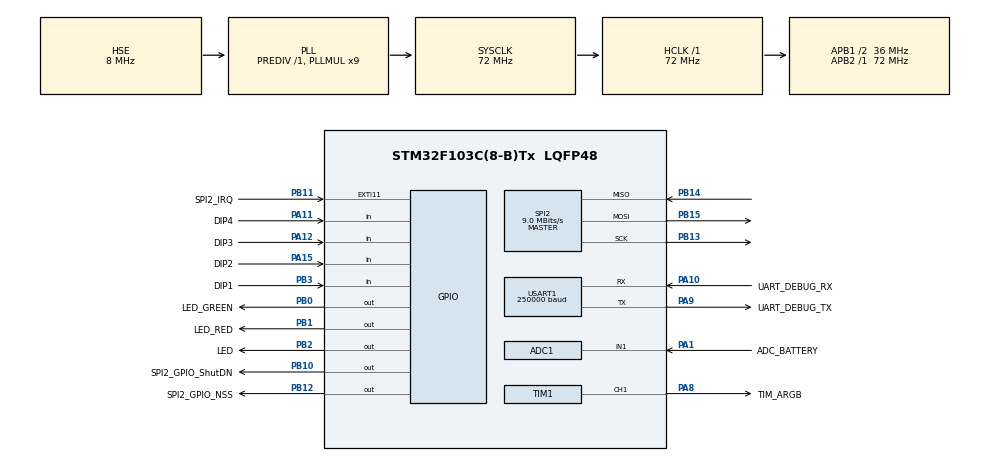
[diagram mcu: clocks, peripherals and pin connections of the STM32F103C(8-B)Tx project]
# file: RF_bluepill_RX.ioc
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ADC1.Channel-2\#ChannelRegularConversion=ADC_CHANNEL_1
ADC1.ContinuousConvMode=ENABLE
ADC1.NbrOfConversionFlag=1
ADC1.Rank-2\#ChannelRegularConversion=1
ADC1.SamplingTime-2\#ChannelRegularConversion=ADC_SAMPLETIME_71CYCLES_5
ADC1.master=1
Dma.Request0=TIM1_CH1
Dma.TIM1_CH1.0.Direction=DMA_MEMORY_TO_PERIPH
Dma.TIM1_CH1.0.Instance=DMA1_Channel2
Dma.TIM1_CH1.0.MemDataAlignment=DMA_MDATAALIGN_BYTE
Dma.TIM1_CH1.0.MemInc=DMA_MINC_ENABLE
Dma.TIM1_CH1.0.Mode=DMA_CIRCULAR
Dma.TIM1_CH1.0.PeriphDataAlignment=DMA_PDATAALIGN_WORD
Dma.TIM1_CH1.0.PeriphInc=DMA_PINC_DISABLE
Dma.TIM1_CH1.0.Priority=DMA_PRIORITY_VERY_HIGH
Mcu.Family=STM32F1
Mcu.Name=STM32F103C(8-B)Tx
Mcu.Package=LQFP48
NVIC.DMA1_Channel2_IRQn=true\:0\:0\:false\:false\:true\:false\:true\:true
NVIC.EXTI15_10_IRQn=true\:0\:0\:false\:false\:true\:true\:true\:true
NVIC.PriorityGroup=NVIC_PRIORITYGROUP_4
NVIC.TIM2_IRQn=true\:0\:0\:false\:false\:true\:true\:true\:true
NVIC.TIM3_IRQn=true\:0\:0\:false\:false\:true\:true\:true\:true
NVIC.USART1_IRQn=true\:0\:0\:false\:false\:true\:true\:true\:true
PA1.GPIO_Label=ADC_BATTERY
PA1.Signal=ADCx_IN1
PA10.GPIO_Label=UART_DEBUG_RX
PA10.Mode=Asynchronous
PA10.Signal=USART1_RX
PA11.GPIO_Label=DIP4
PA11.Signal=GPIO_Input
PA12.GPIO_Label=DIP3
PA12.Signal=GPIO_Input
PA13.Mode=Serial_Wire
PA13.Signal=SYS_JTMS-SWDIO
PA14.Mode=Serial_Wire
PA14.Signal=SYS_JTCK-SWCLK
PA15.GPIO_Label=DIP2
PA15.Signal=GPIO_Input
PA8.GPIO_Label=TIM_ARGB
PA8.Signal=S_TIM1_CH1
PA9.GPIO_Label=UART_DEBUG_TX
PA9.Mode=Asynchronous
PA9.Signal=USART1_TX
PB0.GPIO_Label=LED_GREEN
PB0.Signal=GPIO_Output
PB1.GPIO_Label=LED_RED
PB1.Signal=GPIO_Output
PB10.GPIO_Label=SPI2_GPIO_ShutDN
PB10.GPIO_PuPd=GPIO_NOPULL
PB10.PinState=GPIO_PIN_RESET
PB10.Signal=GPIO_Output
PB11.GPIO_Label=SPI2_IRQ
PB11.GPIO_ModeDefaultEXTI=GPIO_MODE_IT_FALLING
PB11.GPIO_PuPd=GPIO_PULLUP
PB11.Signal=GPXTI11
PB12.GPIO_Label=SPI2_GPIO_NSS
PB12.GPIO_Speed=GPIO_SPEED_FREQ_MEDIUM
PB12.Signal=GPIO_Output
PB13.Mode=Full_Duplex_Master
PB13.Signal=SPI2_SCK
PB14.Mode=Full_Duplex_Master
PB14.Signal=SPI2_MISO
PB15.Mode=Full_Duplex_Master
PB15.Signal=SPI2_MOSI
PB2.GPIO_Label=LED
PB2.Signal=GPIO_Output
PB3.GPIO_Label=DIP1
PB3.Signal=GPIO_Input
PD0-OSC_IN.Mode=HSE-External-Oscillator
PD0-OSC_IN.Signal=RCC_OSC_IN
PD1-OSC_OUT.Mode=HSE-External-Oscillator
PD1-OSC_OUT.Signal=RCC_OSC_OUT
ProjectManager.HeapSize=0x200
ProjectManager.StackSize=0x400
ProjectManager.TargetToolchain=STM32CubeIDE
RCC.ADCPresc=RCC_ADCPCLK2_DIV6
RCC.AHBFreq_Value=72000000
RCC.APB1CLKDivider=RCC_HCLK_DIV2
RCC.APB1Freq_Value=36000000
RCC.APB1TimFreq_Value=72000000
RCC.APB2Freq_Value=72000000
RCC.APB2TimFreq_Value=72000000
RCC.HCLKFreq_Value=72000000
RCC.PLLMUL=RCC_PLL_MUL9
RCC.PLLSourceVirtual=RCC_PLLSOURCE_HSE
RCC.SYSCLKFreq_VALUE=72000000
RCC.SYSCLKSource=RCC_SYSCLKSOURCE_PLLCLK
RCC.USBFreq_Value=72000000
SH.ADCx_IN1.0=ADC1_IN1,IN1
SH.S_TIM1_CH1.0=TIM1_CH1,PWM Generation1 CH1
SPI2.BaudRatePrescaler=SPI_BAUDRATEPRESCALER_4
SPI2.CalculateBaudRate=9.0 MBits/s
SPI2.Direction=SPI_DIRECTION_2LINES
SPI2.Mode=SPI_MODE_MASTER
SPI2.VirtualType=VM_MASTER
TIM1.Channel-PWM\ Generation1\ CH1=TIM_CHANNEL_1
TIM1.Period=89
TIM2.Prescaler=6399
TIM3.Period=49999
TIM3.Prescaler=7199
USART1.BaudRate=250000
USART1.StopBits=STOPBITS_2
USART1.VirtualMode=VM_ASYNC
VP_TIM1_VS_ClockSourceINT.Mode=Internal
VP_TIM2_VS_ClockSourceINT.Mode=Internal
VP_TIM3_VS_ClockSourceINT.Mode=Internal
board=custom

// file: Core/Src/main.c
/* USER CODE BEGIN Header */
/**
  ******************************************************************************
  * @file           : main.c
  * @brief          : Main program body
  ******************************************************************************
  * @attention
  *
  * Copyright (c) 2025 STMicroelectronics.
  * All rights reserved.
  *
  * This software is licensed under terms that can be found in the LICENSE file
  * in the root directory of this software component.
  * If no LICENSE file comes with this software, it is provided AS-IS.
  *
  ******************************************************************************
  */
/* USER CODE END Header */
#include "main.h"

/* USER CODE BEGIN Includes */
#include "si4432.h"
#include "effects.h"
#include "colours.h" //ToDo: delete
/* USER CODE END Includes */

/* USER CODE BEGIN PD */
#define BROADCAST_PACKET_MARK 0xA1
#define INDIVIDUAL_PACKET_MARK 0xA2
//#define DATA_START_POS 2 //Position of packet on which DMX data starts

#define AWAKE_PACKET_MARK 0xBB
#define AWAKE_PACKET_LENGTH 2

#define FIFO_SIZE 64

#define BATTERY_LOW_VOLTAGE 15.5f //Voltage at which tube stops; even 15.0f should be safe

#define FLASH_TIME 20000		  //For how long minimum (ms) the device is flashable without battery, after plugging in

#define BATTERY_LOW_BLINKS 10 	  //How many times RED LED blinks when battery is low

//ToDo: Fix - prevent FIFO overflow

/* USER CODE END PD */

ADC_HandleTypeDef hadc1;

SPI_HandleTypeDef hspi2;

TIM_HandleTypeDef htim1;
TIM_HandleTypeDef htim2;
TIM_HandleTypeDef htim3;
DMA_HandleTypeDef hdma_tim1_ch1;

UART_HandleTypeDef huart1;

/* USER CODE BEGIN PV */
//FLAGS
static volatile bool nextStepFlag = 1; //Next step of animation can be applied
static volatile bool rxDoneFlag = 0;   //RF packet received
static volatile bool signalLost = 0;   //RF signal lost
static uint8_t lastPacketID = 0;   	   //Last received dataPacket ID

static uint8_t tubeNumber; 	 //tubeNumber acquired from DIP switch; from 1 to 6
static volatile float current_battery_voltage = 21.0f;
static volatile bool applyValues = false;

/* USER CODE END PV */

void SystemClock_Config(void);
static void MX_GPIO_Init(void);
static void MX_DMA_Init(void);
static void MX_TIM1_Init(void);
static void MX_SPI2_Init(void);
static void MX_TIM2_Init(void);
static void MX_USART1_UART_Init(void);
static void MX_ADC1_Init(void);
static void MX_TIM3_Init(void);

/* USER CODE BEGIN 0 */
void HAL_TIM_PeriodElapsedCallback(TIM_HandleTypeDef *htim)
{
    if (htim->Instance == TIM2)
    {
    	nextStepFlag=1;
    }
    else if (htim->Instance == TIM3)
    {
    	signalLost=1;
    }
}

//---RF EXTI Callback---
void HAL_GPIO_EXTI_Callback(uint16_t GPIO_Pin)
{
	//EXTI for RF module (SI4432)
	//if (GPIO_Pin == GPIO_PIN_11)
	//{
        rxDoneFlag=true; //ToDo: přidat čtecí
	//}
}

void set_timer(TIM_HandleTypeDef *htim, uint16_t ARR, uint16_t PSC)
{
	__HAL_TIM_SET_AUTORELOAD(htim, ARR);
	__HAL_TIM_SET_PRESCALER(htim, PSC);
	__HAL_TIM_SET_COUNTER(htim, 0);
	htim->Instance->EGR = TIM_EGR_UG;
}

void reset_timer(TIM_HandleTypeDef *htim)
{
	__HAL_TIM_SET_COUNTER(htim, 0);
}

void DIP_init()
{
	tubeNumber = 0;
	tubeNumber |= (!HAL_GPIO_ReadPin(DIP4_GPIO_Port, DIP4_Pin)<<0);
	//Do not use DIP3! --- needs to be fixed in HW...
	tubeNumber |= (!HAL_GPIO_ReadPin(DIP2_GPIO_Port, DIP2_Pin)<<1);
	tubeNumber |= (!HAL_GPIO_ReadPin(DIP1_GPIO_Port, DIP1_Pin)<<2);
	tubeNumber+=1;
}

float get_battery_voltage()
{
	uint32_t adc_value = HAL_ADC_GetValue(&hadc1);
	//ADC_VALUE*Vref / ADC_RESOLUTION
	//float v_pin = (adc_value * 3.3f) / 4095.0f;
	//VOLTAGE DIVIDER -> (R7+R8)/R8 = (470k+82k)/82k = 6.7317f
	float v_battery = ((adc_value * 3.3f) / 4095.0f) * 6.7317f;
	//HAL_ADC_Start(&hadc1);
	return v_battery;
}

void apply_effect()
{
	if(ARGB_Ready() == ARGB_READY) //Prevents writing onto ARGB while another writing is in progress (was causing artifacts)
	{
		effects_apply_values();
		applyValues = false;
	}
}
/* USER CODE END 0 */

int main(void)
{

  /* MCU Configuration--------------------------------------------------------*/

  /* Reset of all peripherals, Initializes the Flash interface and the Systick. */
  HAL_Init();

  /* Configure the system clock */
  SystemClock_Config();

  /* Initialize all configured peripherals */
  MX_GPIO_Init();
  MX_DMA_Init();
  MX_TIM1_Init();
  MX_SPI2_Init();
  MX_TIM2_Init();
  MX_USART1_UART_Init();
  MX_ADC1_Init();
  MX_TIM3_Init();
  /* USER CODE BEGIN 2 */

  DIP_init();
  HAL_ADC_Start(&hadc1);
  HAL_GPIO_WritePin(LED_GREEN_GPIO_Port, LED_GREEN_Pin, GPIO_PIN_SET);
  HAL_GPIO_WritePin(SPI2_GPIO_ShutDN_GPIO_Port, SPI2_GPIO_ShutDN_Pin, GPIO_PIN_RESET);
  HAL_Delay(500);

  //---SI4432---
  SI44_Init(&hspi2, SPI2_GPIO_NSS_GPIO_Port, SPI2_GPIO_NSS_Pin);
  SI44_PresetConfig();
  HAL_Delay(50); //ToDo: zkratit
  SI44_SetAGCMode(0b00100000); //6th bit - sgin
  HAL_Delay(5);
  SI44_SetInterrupts1(0b00000010); //1st bit = CRC error
  HAL_Delay(5);
  SI44_SetInterrupts2(0b00000000);
  HAL_Delay(5);
  SI44_SetModuleAntenna();
  //SI44_SetTXPower(SI44_TX_POWER_20dBm);    //Set TX power to 11dBm (12.5 mW)
  HAL_Delay(100);

  //---ARGB effects---
  effects_init(&htim2, tubeNumber); //before timer?
  HAL_TIM_Base_Start_IT(&htim2);

  HAL_TIM_Base_Start_IT(&htim3);

  bool changesMade=1;	//If changes were made to the ARGB settings - it is true. It is used to redraw current effect immidiately.
  bool afterDataLost=0; //Data packet was lost - behavior in DATA PACKET handling slightly differs (commented further in code)

  static uint8_t packetRF[FIFO_SIZE];  		  //Current RF packet
  static uint8_t previousPacketRF[FIFO_SIZE]; //Previous RF packet

  effects_set_effect(0,0);
  effects_set_primaryColour(100);
  effects_set_secondaryColour(150);
  effects_set_tempo(164);
  effects_set_brightness(255);

  //SetRXon should be placed as close as possible to the main loop,
  //if not, FIFO buffer can overflow, which resets ipkvalid IRQ to logical 1.
  //That would be caused by Si4432 already running in the background and receiving packets, while program for example waiting in HAL_Delay.
  //(If FIFO overflows, the entire packet cannot be saved into FIFO -> invalid paket received.)
  //That makes the program stuck with no option to start receiving again.
  //BEWARE - after resetting or quick ON/OFF switching FIFO/receiving seems to stay active -> FIFO will be kept full
  uint8_t b;
  SI44_Read(0x04, &b, 1);
  SI44_Read(0x03, &b, 1);
  rxDoneFlag = 0; //important - prevents fake IRQ signal probably caused by Si4432 booting up!
  __HAL_GPIO_EXTI_CLEAR_IT(SPI2_IRQ_Pin);
  SI44_ClearRXFIFO();

  HAL_GPIO_WritePin(LED_GREEN_GPIO_Port, LED_GREEN_Pin, GPIO_PIN_RESET);
  SI44_SetRXon();
  /* USER CODE END 2 */

  /* Infinite loop */
  /* USER CODE BEGIN WHILE */
  while (1)
  {
	  //RF PACKET RECEIVED
	  if(rxDoneFlag==1 || HAL_GPIO_ReadPin(SPI2_IRQ_GPIO_Port, SPI2_IRQ_Pin) == GPIO_PIN_RESET)
	  {
		  //Recieving only applies when data changes - included in transmitter code
		  rxDoneFlag=0;
		  reset_timer(&htim3);

		  uint8_t b;
		  SI44_Read(0x04, &b, 1);
		  SI44_Read(0x03, &b, 1);

		  SI44_ReadPacket(packetRF);

		  //DATA PACKET - BROADCAST
		  if(packetRF[0]==BROADCAST_PACKET_MARK)
		  {
			  lastPacketID=packetRF[1];
			  HAL_GPIO_WritePin(LED_RED_GPIO_Port, LED_RED_Pin, GPIO_PIN_RESET);
			  HAL_GPIO_WritePin(LED_GREEN_GPIO_Port, LED_GREEN_Pin, GPIO_PIN_RESET);
			  if(packetRF[4]!=previousPacketRF[4])
			  {
				  effects_set_primaryColour(packetRF[4]);
				  changesMade=true;
			  }
			  if(packetRF[5]!=previousPacketRF[5])
			  {
				  effects_set_secondaryColour(packetRF[5]);
				  changesMade=true;
			  }
			  if(packetRF[2]!=previousPacketRF[2])
			  {
				  effects_set_tempo(packetRF[2]);
				  changesMade=true;
			  }
			  if(packetRF[3]!=previousPacketRF[3])
			  {
				  effects_set_brightness(packetRF[3]);
				  changesMade=true;
			  }
			  if(packetRF[6]!=previousPacketRF[6]||packetRF[7]!=previousPacketRF[7]||afterDataLost==true)
			  {
				  effects_set_effect(packetRF[6],packetRF[7]);
				  changesMade=true;
				  afterDataLost=0; //Needed to reapply the same values after desynchronization
			  }
			  //current_effect_func() should apply new values only, if there was a change
			  //However after loss of data packet, no change is needed - the same signal can be reapplied (afterDataLost=true)
			  if(changesMade==true)
			  {
				  changesMade=0;
				  memcpy(previousPacketRF, packetRF, FIFO_SIZE); //ToDo: Doesn't have to copy the whole packet of FIFO_SIZE
				  applyValues=true;
				  apply_effect();
			  }
		  }
		  //DATA PACKET - INDIVIDUAL
		  else if(packetRF[0]==INDIVIDUAL_PACKET_MARK)
		  {
			  lastPacketID=packetRF[1];
			  HAL_GPIO_WritePin(LED_RED_GPIO_Port, LED_RED_Pin, GPIO_PIN_RESET);
			  HAL_GPIO_WritePin(LED_GREEN_GPIO_Port, LED_GREEN_Pin, GPIO_PIN_RESET);
			  uint8_t tubeIndex = (tubeNumber-1)*5;
			  if(packetRF[4+tubeIndex]!=previousPacketRF[4+tubeIndex])
			  {
				  effects_set_primaryColour(packetRF[4+tubeIndex]);
				  changesMade=true;
			  }
			  if(packetRF[5+tubeIndex]!=previousPacketRF[5+tubeIndex])
			  {
				  effects_set_secondaryColour(packetRF[5+tubeIndex]);
				  changesMade=true;
			  }
			  if(packetRF[2]!=previousPacketRF[2])
			  {
				  effects_set_tempo(packetRF[2]);
				  changesMade=true;
			  }
			  if(packetRF[3+tubeIndex]!=previousPacketRF[3+tubeIndex])
			  {
				  effects_set_brightness(packetRF[3+tubeIndex]);
				  changesMade=true;
			  }
			  if(packetRF[6+tubeIndex]!=previousPacketRF[6+tubeIndex]||packetRF[7+tubeIndex]!=previousPacketRF[7+tubeIndex]||afterDataLost==true)
			  {
				  effects_set_effect(packetRF[6+tubeIndex],packetRF[7+tubeIndex]);
				  changesMade=true;
				  afterDataLost=0;
			  }
			  if(changesMade==true)
			  {
				  changesMade=0;
				  memcpy(previousPacketRF, packetRF, FIFO_SIZE);
				  applyValues=true;
				  apply_effect();
			  }
		  }
		  //AWAKE PACKET BEHAVI0R
		  if(packetRF[0]==AWAKE_PACKET_MARK)
		  {
			  //AWAKE PACKET ID MISMATCH
			  if(packetRF[1]!=lastPacketID)
			  {
				  //lastPacketID=packetRF[1];
				  afterDataLost=1;
				  //YELLOW
				  HAL_GPIO_WritePin(LED_RED_GPIO_Port, LED_RED_Pin, GPIO_PIN_SET);
				  HAL_GPIO_WritePin(LED_GREEN_GPIO_Port, LED_GREEN_Pin, GPIO_PIN_SET);
				  effects_set_effect(0,0);
				  applyValues=true;
				  apply_effect();
			  }
		  }
	  }

	  //SIGNAL LOST BEHAVIOR
	  if(signalLost==1)
	  {
		  signalLost=0;
		  afterDataLost=1;
		  effects_set_effect(0,0);
		  applyValues=true;
		  apply_effect();
		  HAL_GPIO_WritePin(LED_RED_GPIO_Port, LED_RED_Pin, GPIO_PIN_SET);
	  }

	  //BATTERY LOW BEHAVIOR
	  if(get_battery_voltage()<BATTERY_LOW_VOLTAGE)
	  {
		  //ENABLES STANDBY MODE WHEN BATTERY VOLTAGE IS LOW
		  effects_set_effect(0,0);
		  while (ARGB_Ready() == ARGB_BUSY) {}
		  effects_apply_values();
		  //__disable_irq();
		  for(uint8_t i=0; i<BATTERY_LOW_BLINKS; i++)
		  {
			  HAL_GPIO_WritePin(LED_RED_GPIO_Port, LED_RED_Pin, GPIO_PIN_SET);
			  HAL_Delay(500);
			  HAL_GPIO_WritePin(LED_RED_GPIO_Port, LED_RED_Pin, GPIO_PIN_RESET);
			  HAL_Delay(500);
		  }
		  HAL_Delay(500);
		  ARGB_Clear(); //Only for testing
		  ARGB_Show();
		  HAL_Delay(FLASH_TIME);
		  //HAL_PWR_EnableWakeUpPin(PWR_WAKEUP_PIN1);
		  __HAL_PWR_CLEAR_FLAG(PWR_FLAG_WU);
		  HAL_PWR_EnterSTANDBYMode();
	  }

	  //VALUE APPLYING TO ARGB
	  	  /**
	  	   * Prevents race condition - effect only redraws when HW enables it, otherwise it could create artifacts
	  	   * ApplyValues doesn't do anything with the timer. Timer continues adding to steps variable, but the effect only redraws when it is able to.
	  	   */
	  if(applyValues == true)
	  {
		  apply_effect();
	  }

	  //EFFECT TIMING
	  if(nextStepFlag==1)
	  {
		  effects_next_step();
		  applyValues=true;
		  nextStepFlag=0;
	  }
    /* USER CODE END WHILE */

  }
}

void SystemClock_Config(void)
{
  RCC_OscInitTypeDef RCC_OscInitStruct = {0};
  RCC_ClkInitTypeDef RCC_ClkInitStruct = {0};
  RCC_PeriphCLKInitTypeDef PeriphClkInit = {0};

  /** Initializes the RCC Oscillators according to the specified parameters
  * in the RCC_OscInitTypeDef structure.
  */
  RCC_OscInitStruct.OscillatorType = RCC_OSCILLATORTYPE_HSE;
  RCC_OscInitStruct.HSEState = RCC_HSE_ON;
  RCC_OscInitStruct.HSEPredivValue = RCC_HSE_PREDIV_DIV1;
  RCC_OscInitStruct.HSIState = RCC_HSI_ON;
  RCC_OscInitStruct.PLL.PLLState = RCC_PLL_ON;
  RCC_OscInitStruct.PLL.PLLSource = RCC_PLLSOURCE_HSE;
  RCC_OscInitStruct.PLL.PLLMUL = RCC_PLL_MUL9;
  if (HAL_RCC_OscConfig(&RCC_OscInitStruct) != HAL_OK)
  {
    Error_Handler();
  }

  /** Initializes the CPU, AHB and APB buses clocks
  */
  RCC_ClkInitStruct.ClockType = RCC_CLOCKTYPE_HCLK|RCC_CLOCKTYPE_SYSCLK
                              |RCC_CLOCKTYPE_PCLK1|RCC_CLOCKTYPE_PCLK2;
  RCC_ClkInitStruct.SYSCLKSource = RCC_SYSCLKSOURCE_PLLCLK;
  RCC_ClkInitStruct.AHBCLKDivider = RCC_SYSCLK_DIV1;
  RCC_ClkInitStruct.APB1CLKDivider = RCC_HCLK_DIV2;
  RCC_ClkInitStruct.APB2CLKDivider = RCC_HCLK_DIV1;

  if (HAL_RCC_ClockConfig(&RCC_ClkInitStruct, FLASH_LATENCY_2) != HAL_OK)
  {
    Error_Handler();
  }
  PeriphClkInit.PeriphClockSelection = RCC_PERIPHCLK_ADC;
  PeriphClkInit.AdcClockSelection = RCC_ADCPCLK2_DIV6;
  if (HAL_RCCEx_PeriphCLKConfig(&PeriphClkInit) != HAL_OK)
  {
    Error_Handler();
  }
}

static void MX_ADC1_Init(void)
{

  ADC_ChannelConfTypeDef sConfig = {0};

  /** Common config
  */
  hadc1.Instance = ADC1;
  hadc1.Init.ScanConvMode = ADC_SCAN_DISABLE;
  hadc1.Init.ContinuousConvMode = ENABLE;
  hadc1.Init.DiscontinuousConvMode = DISABLE;
  hadc1.Init.ExternalTrigConv = ADC_SOFTWARE_START;
  hadc1.Init.DataAlign = ADC_DATAALIGN_RIGHT;
  hadc1.Init.NbrOfConversion = 1;
  if (HAL_ADC_Init(&hadc1) != HAL_OK)
  {
    Error_Handler();
  }

  /** Configure Regular Channel
  */
  sConfig.Channel = ADC_CHANNEL_1;
  sConfig.Rank = ADC_REGULAR_RANK_1;
  sConfig.SamplingTime = ADC_SAMPLETIME_71CYCLES_5;
  if (HAL_ADC_ConfigChannel(&hadc1, &sConfig) != HAL_OK)
  {
    Error_Handler();
  }

}

static void MX_SPI2_Init(void)
{

  /* SPI2 parameter configuration*/
  hspi2.Instance = SPI2;
  hspi2.Init.Mode = SPI_MODE_MASTER;
  hspi2.Init.Direction = SPI_DIRECTION_2LINES;
  hspi2.Init.DataSize = SPI_DATASIZE_8BIT;
  hspi2.Init.CLKPolarity = SPI_POLARITY_LOW;
  hspi2.Init.CLKPhase = SPI_PHASE_1EDGE;
  hspi2.Init.NSS = SPI_NSS_SOFT;
  hspi2.Init.BaudRatePrescaler = SPI_BAUDRATEPRESCALER_4;
  hspi2.Init.FirstBit = SPI_FIRSTBIT_MSB;
  hspi2.Init.TIMode = SPI_TIMODE_DISABLE;
  hspi2.Init.CRCCalculation = SPI_CRCCALCULATION_DISABLE;
  hspi2.Init.CRCPolynomial = 10;
  if (HAL_SPI_Init(&hspi2) != HAL_OK)
  {
    Error_Handler();
  }

}

static void MX_TIM1_Init(void)
{

  TIM_ClockConfigTypeDef sClockSourceConfig = {0};
  TIM_MasterConfigTypeDef sMasterConfig = {0};
  TIM_OC_InitTypeDef sConfigOC = {0};
  TIM_BreakDeadTimeConfigTypeDef sBreakDeadTimeConfig = {0};

  htim1.Instance = TIM1;
  htim1.Init.Prescaler = 0;
  htim1.Init.CounterMode = TIM_COUNTERMODE_UP;
  htim1.Init.Period = 89;
  htim1.Init.ClockDivision = TIM_CLOCKDIVISION_DIV1;
  htim1.Init.RepetitionCounter = 0;
  htim1.Init.AutoReloadPreload = TIM_AUTORELOAD_PRELOAD_DISABLE;
  if (HAL_TIM_Base_Init(&htim1) != HAL_OK)
  {
    Error_Handler();
  }
  sClockSourceConfig.ClockSource = TIM_CLOCKSOURCE_INTERNAL;
  if (HAL_TIM_ConfigClockSource(&htim1, &sClockSourceConfig) != HAL_OK)
  {
    Error_Handler();
  }
  if (HAL_TIM_PWM_Init(&htim1) != HAL_OK)
  {
    Error_Handler();
  }
  sMasterConfig.MasterOutputTrigger = TIM_TRGO_RESET;
  sMasterConfig.MasterSlaveMode = TIM_MASTERSLAVEMODE_DISABLE;
  if (HAL_TIMEx_MasterConfigSynchronization(&htim1, &sMasterConfig) != HAL_OK)
  {
    Error_Handler();
  }
  sConfigOC.OCMode = TIM_OCMODE_PWM1;
  sConfigOC.Pulse = 0;
  sConfigOC.OCPolarity = TIM_OCPOLARITY_HIGH;
  sConfigOC.OCNPolarity = TIM_OCNPOLARITY_HIGH;
  sConfigOC.OCFastMode = TIM_OCFAST_DISABLE;
  sConfigOC.OCIdleState = TIM_OCIDLESTATE_RESET;
  sConfigOC.OCNIdleState = TIM_OCNIDLESTATE_RESET;
  if (HAL_TIM_PWM_ConfigChannel(&htim1, &sConfigOC, TIM_CHANNEL_1) != HAL_OK)
  {
    Error_Handler();
  }
  sBreakDeadTimeConfig.OffStateRunMode = TIM_OSSR_DISABLE;
  sBreakDeadTimeConfig.OffStateIDLEMode = TIM_OSSI_DISABLE;
  sBreakDeadTimeConfig.LockLevel = TIM_LOCKLEVEL_OFF;
  sBreakDeadTimeConfig.DeadTime = 0;
  sBreakDeadTimeConfig.BreakState = TIM_BREAK_DISABLE;
  sBreakDeadTimeConfig.BreakPolarity = TIM_BREAKPOLARITY_HIGH;
  sBreakDeadTimeConfig.AutomaticOutput = TIM_AUTOMATICOUTPUT_DISABLE;
  if (HAL_TIMEx_ConfigBreakDeadTime(&htim1, &sBreakDeadTimeConfig) != HAL_OK)
  {
    Error_Handler();
  }
  HAL_TIM_MspPostInit(&htim1);

}

static void MX_TIM2_Init(void)
{

  TIM_ClockConfigTypeDef sClockSourceConfig = {0};
  TIM_MasterConfigTypeDef sMasterConfig = {0};

  htim2.Instance = TIM2;
  htim2.Init.Prescaler = 6399;
  htim2.Init.CounterMode = TIM_COUNTERMODE_UP;
  htim2.Init.Period = 65535;
  htim2.Init.ClockDivision = TIM_CLOCKDIVISION_DIV1;
  htim2.Init.AutoReloadPreload = TIM_AUTORELOAD_PRELOAD_DISABLE;
  if (HAL_TIM_Base_Init(&htim2) != HAL_OK)
  {
    Error_Handler();
  }
  sClockSourceConfig.ClockSource = TIM_CLOCKSOURCE_INTERNAL;
  if (HAL_TIM_ConfigClockSource(&htim2, &sClockSourceConfig) != HAL_OK)
  {
    Error_Handler();
  }
  sMasterConfig.MasterOutputTrigger = TIM_TRGO_RESET;
  sMasterConfig.MasterSlaveMode = TIM_MASTERSLAVEMODE_DISABLE;
  if (HAL_TIMEx_MasterConfigSynchronization(&htim2, &sMasterConfig) != HAL_OK)
  {
    Error_Handler();
  }

}

static void MX_TIM3_Init(void)
{

  TIM_ClockConfigTypeDef sClockSourceConfig = {0};
  TIM_MasterConfigTypeDef sMasterConfig = {0};

  htim3.Instance = TIM3;
  htim3.Init.Prescaler = 7199;
  htim3.Init.CounterMode = TIM_COUNTERMODE_UP;
  htim3.Init.Period = 49999;
  htim3.Init.ClockDivision = TIM_CLOCKDIVISION_DIV1;
  htim3.Init.AutoReloadPreload = TIM_AUTORELOAD_PRELOAD_DISABLE;
  if (HAL_TIM_Base_Init(&htim3) != HAL_OK)
  {
    Error_Handler();
  }
  sClockSourceConfig.ClockSource = TIM_CLOCKSOURCE_INTERNAL;
  if (HAL_TIM_ConfigClockSource(&htim3, &sClockSourceConfig) != HAL_OK)
  {
    Error_Handler();
  }
  sMasterConfig.MasterOutputTrigger = TIM_TRGO_RESET;
  sMasterConfig.MasterSlaveMode = TIM_MASTERSLAVEMODE_DISABLE;
  if (HAL_TIMEx_MasterConfigSynchronization(&htim3, &sMasterConfig) != HAL_OK)
  {
    Error_Handler();
  }

}

static void MX_USART1_UART_Init(void)
{

  huart1.Instance = USART1;
  huart1.Init.BaudRate = 250000;
  huart1.Init.WordLength = UART_WORDLENGTH_8B;
  huart1.Init.StopBits = UART_STOPBITS_2;
  huart1.Init.Parity = UART_PARITY_NONE;
  huart1.Init.Mode = UART_MODE_TX_RX;
  huart1.Init.HwFlowCtl = UART_HWCONTROL_NONE;
  huart1.Init.OverSampling = UART_OVERSAMPLING_16;
  if (HAL_UART_Init(&huart1) != HAL_OK)
  {
    Error_Handler();
  }

}

static void MX_DMA_Init(void)
{

  /* DMA controller clock enable */
  __HAL_RCC_DMA1_CLK_ENABLE();

  /* DMA interrupt init */
  /* DMA1_Channel2_IRQn interrupt configuration */
  HAL_NVIC_SetPriority(DMA1_Channel2_IRQn, 0, 0);
  HAL_NVIC_EnableIRQ(DMA1_Channel2_IRQn);

}

static void MX_GPIO_Init(void)
{
  GPIO_InitTypeDef GPIO_InitStruct = {0};

  /* GPIO Ports Clock Enable */
  __HAL_RCC_GPIOD_CLK_ENABLE();
  __HAL_RCC_GPIOA_CLK_ENABLE();
  __HAL_RCC_GPIOB_CLK_ENABLE();

  /*Configure GPIO pin Output Level */
  HAL_GPIO_WritePin(GPIOB, LED_GREEN_Pin|LED_RED_Pin|LED_Pin|SPI2_GPIO_ShutDN_Pin
                          |SPI2_GPIO_NSS_Pin, GPIO_PIN_RESET);

  /*Configure GPIO pins : LED_GREEN_Pin LED_RED_Pin LED_Pin SPI2_GPIO_ShutDN_Pin */
  GPIO_InitStruct.Pin = LED_GREEN_Pin|LED_RED_Pin|LED_Pin|SPI2_GPIO_ShutDN_Pin;
  GPIO_InitStruct.Mode = GPIO_MODE_OUTPUT_PP;
  GPIO_InitStruct.Pull = GPIO_NOPULL;
  GPIO_InitStruct.Speed = GPIO_SPEED_FREQ_LOW;
  HAL_GPIO_Init(GPIOB, &GPIO_InitStruct);

  /*Configure GPIO pin : SPI2_IRQ_Pin */
  GPIO_InitStruct.Pin = SPI2_IRQ_Pin;
  GPIO_InitStruct.Mode = GPIO_MODE_IT_FALLING;
  GPIO_InitStruct.Pull = GPIO_PULLUP;
  HAL_GPIO_Init(SPI2_IRQ_GPIO_Port, &GPIO_InitStruct);

  /*Configure GPIO pin : SPI2_GPIO_NSS_Pin */
  GPIO_InitStruct.Pin = SPI2_GPIO_NSS_Pin;
  GPIO_InitStruct.Mode = GPIO_MODE_OUTPUT_PP;
  GPIO_InitStruct.Pull = GPIO_NOPULL;
  GPIO_InitStruct.Speed = GPIO_SPEED_FREQ_MEDIUM;
  HAL_GPIO_Init(SPI2_GPIO_NSS_GPIO_Port, &GPIO_InitStruct);

  /*Configure GPIO pins : DIP4_Pin DIP3_Pin DIP2_Pin */
  GPIO_InitStruct.Pin = DIP4_Pin|DIP3_Pin|DIP2_Pin;
  GPIO_InitStruct.Mode = GPIO_MODE_INPUT;
  GPIO_InitStruct.Pull = GPIO_NOPULL;
  HAL_GPIO_Init(GPIOA, &GPIO_InitStruct);

  /*Configure GPIO pin : DIP1_Pin */
  GPIO_InitStruct.Pin = DIP1_Pin;
  GPIO_InitStruct.Mode = GPIO_MODE_INPUT;
  GPIO_InitStruct.Pull = GPIO_NOPULL;
  HAL_GPIO_Init(DIP1_GPIO_Port, &GPIO_InitStruct);

  /* EXTI interrupt init*/
  HAL_NVIC_SetPriority(EXTI15_10_IRQn, 0, 0);
  HAL_NVIC_EnableIRQ(EXTI15_10_IRQn);

}

void Error_Handler(void)
{
  /* USER CODE BEGIN Error_Handler_Debug */
  /* User can add his own implementation to report the HAL error return state */
  __disable_irq();
  while (1)
  {
	  HAL_GPIO_WritePin(GPIOB, GPIO_PIN_2, GPIO_PIN_SET);
  }
  /* USER CODE END Error_Handler_Debug */
}
